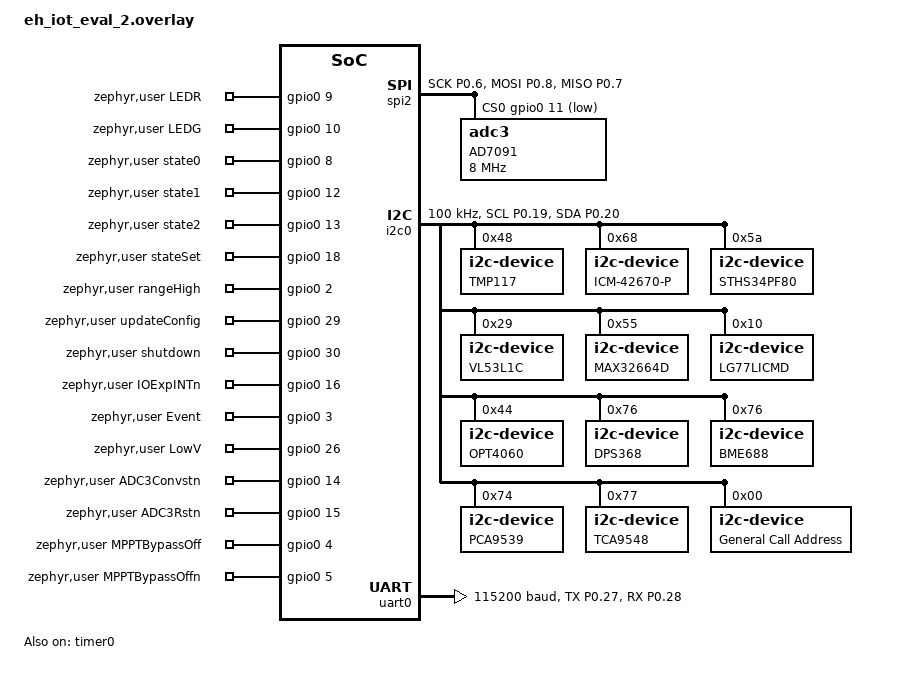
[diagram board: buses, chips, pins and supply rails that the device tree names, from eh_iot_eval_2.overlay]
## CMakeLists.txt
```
cmake_minimum_required(VERSION 3.20.0)
find_package(Zephyr REQUIRED HINTS $ENV{ZEPHYR_BASE})

project(estacker_app_soc_nrf52 C CXX)



# Set -fpermissive for both C and C++ files
#set(CMAKE_CXX_FLAGS "${CMAKE_CXX_FLAGS} -fpermissive")
#set(CMAKE_C_FLAGS "${CMAKE_C_FLAGS} -fpermissive")

target_sources(app PRIVATE src/main.c)

#target_sources(app PRIVATE src/ai.c)
target_sources(app PRIVATE src/tof.c)
target_sources(app PRIVATE src/bluetooth.c)
target_sources(app PRIVATE src/gpios.c)
target_sources(app PRIVATE src/state_logger.c)
target_sources(app PRIVATE src/io_expander.c)
target_sources(app PRIVATE src/i2c_switch.c)
target_sources(app PRIVATE src/uart.c)
target_sources(app PRIVATE src/backup.c)
target_sources(app PRIVATE src/vl53l1_platform.c) # ToF sensor
target_sources(app PRIVATE src/VL53L1X_api.c) # ToF sensor

target_include_directories(app PRIVATE ${CMAKE_CURRENT_SOURCE_DIR}/inc)

# Does not work:
#add_compile_options(-EI_CLASSIFIER_ALLOCATION_STATIC)
```

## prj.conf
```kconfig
# enable GPIO
CONFIG_GPIO=y
CONFIG_NFCT_PINS_AS_GPIOS=y

# enable I2C
CONFIG_I2C=y
CONFIG_NRFX_GPIOTE=y
CONFIG_I2C_NRFX=y

# enable pin control (e.g., for I2C)
CONFIG_PINCTRL=y

# enable UART
CONFIG_SERIAL=y
CONFIG_UART_ASYNC_API=y

# RTT Console
CONFIG_RTT_CONSOLE=y
CONFIG_USE_SEGGER_RTT=y
CONFIG_PRINTK=y
CONFIG_CONSOLE=y
CONFIG_STDOUT_CONSOLE=y

# Flash (NVM)
CONFIG_FLASH=y
CONFIG_FLASH_PAGE_LAYOUT=y
CONFIG_NVS=y
CONFIG_MPU_ALLOW_FLASH_WRITE=y

# Bluetooth
#CONFIG_BT=y
#CONFIG_BT_DEBUG_LOG=y
#CONFIG_BT_SMP=y
#CONFIG_BT_PERIPHERAL=y
#CONFIG_BT_DIS=y
#CONFIG_BT_DIS_PNP=n
#CONFIG_BT_BAS=y
#CONFIG_BT_HRS=y
#CONFIG_BT_DEVICE_NAME="SoC BLE"
#CONFIG_BT_DEVICE_APPEARANCE=833


CONFIG_BT_CONN_CTX=y
CONFIG_SETTINGS=y
CONFIG_BT_SETTINGS=y

# BT GATT Test:
CONFIG_BT=y
CONFIG_BT_DEBUG_LOG=y
CONFIG_BT_MAX_CONN=1
CONFIG_BT_L2CAP_TX_BUF_COUNT=5
CONFIG_BT_PERIPHERAL=y
CONFIG_BT_DEVICE_NAME="My_Device"
CONFIG_BT_DEVICE_APPEARANCE=962
#CONFIG_HEAP_MEM_POOL_SIZE= 1024
#CONFIG_HEAP_MEM_POOL_SIZE= 4096
# added for memory footprint reduction:
CONFIG_BT_RX_STACK_SIZE=1024
# This example requires more workqueue stack
CONFIG_SYSTEM_WORKQUEUE_STACK_SIZE=2048

# Power Management 
CONFIG_PM=y
CONFIG_PM_DEVICE=y
#CONFIG_PM_DEVICE_RUNTIME=y

# Required for large arrays (>= 4096 for IMU FIFO FFT)
CONFIG_MAIN_STACK_SIZE=4096
#CONFIG_MAIN_STACK_SIZE=2048

# JSON
CONFIG_CJSON_LIB=y

# FPU, CMSIS
CONFIG_FPU=y
CONFIG_NEWLIB_LIBC=y
CONFIG_NEWLIB_LIBC_NANO=y
CONFIG_NEWLIB_LIBC_FLOAT_PRINTF=y
CONFIG_CMSIS_DSP=y
CONFIG_CMSIS_DSP_COMPLEXMATH=y
CONFIG_CMSIS_DSP_STATISTICS=y
CONFIG_CMSIS_DSP_TRANSFORM=y   
CONFIG_CMSIS_DSP_TABLES_CFFT_F32_128=y
CONFIG_CMSIS_DSP_SUPPORT=y


# MICROPHONE
CONFIG_AUDIO=y
CONFIG_AUDIO_DMIC=y
#CONFIG_AUDIO_DMIC_NRFX_PDM=y
CONFIG_AUDIO_DMIC_LOG_LEVEL_DBG=n


CONFIG_RESET_ON_FATAL_ERROR=n



# Enable Edge Impulse dependencies
#CONFIG_CPLUSPLUS=y
#CONFIG_STD_CPP11=y
#CONFIG_LIB_CPLUSPLUS=y
#CONFIG_NEWLIB_LIBC=y
#CONFIG_NEWLIB_LIBC_FLOAT_PRINTF=y
#CONFIG_FP16=n

# Enable Edge Impulse
#CONFIG_EDGE_IMPULSE=y
#CONFIG_EDGE_IMPULSE_URI="ll42-project-1-v12.zip"
#CONFIG_EI_WRAPPER=y
#CONFIG_EDGE_IMPULSE_DOWNLOAD_ALWAYS=n
#CONFIG_EI_WRAPPER_DATA_BUF_SIZE=9600
#CONFIG_EI_WRAPPER_THREAD_STACK_SIZE=1024


# SPI Bus
CONFIG_SPI=n

# Enable CYCCNT for timestamping
CONFIG_TIMING_FUNCTIONS=y
#CONFIG_SYS_CLOCK_TICKS_PER_SEC=1000

# Ring Buffer
CONFIG_RING_BUFFER=y
```

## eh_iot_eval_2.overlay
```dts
// To get started, press Ctrl+Space (or Option+Esc) to bring up the completion menu and view the available nodes.

// You can also use the buttons in the sidebar to perform actions on nodes.
// Actions currently available include:

// * Enabling / disabling the node
// * Adding the bus to a bus
// * Removing the node
// * Connecting ADC channels

// For more help, browse the DeviceTree documentation at https://docs.zephyrproject.org/latest/guides/dts/index.html
// You can also visit the nRF DeviceTree extension documentation at https://nrfconnect.github.io/vscode-nrf-connect/devicetree/nrfdevicetree.html


&gpio0 {
	status = "okay";
};


/ {
	zephyr,user {
		LEDR-gpios = <&gpio0 9 GPIO_ACTIVE_HIGH>;
		LEDG-gpios = <&gpio0 10 GPIO_ACTIVE_HIGH>;

		state0-gpios = <&gpio0 8 GPIO_ACTIVE_HIGH>;
		state1-gpios = <&gpio0 12 GPIO_ACTIVE_HIGH>;
		state2-gpios = <&gpio0 13 GPIO_ACTIVE_HIGH>;
		stateSet-gpios = <&gpio0 18 GPIO_ACTIVE_HIGH>; 		

		rangeHigh-gpios = <&gpio0 2 GPIO_ACTIVE_HIGH>;		

		updateConfig-gpios = <&gpio0 29 GPIO_ACTIVE_HIGH>;

		shutdown-gpios = <&gpio0 30 GPIO_ACTIVE_HIGH>;

		IOExpINTn-gpios = <&gpio0 16 GPIO_ACTIVE_HIGH>;

		// Reactive Signal from Pi
		Event-gpios = <&gpio0 3 GPIO_ACTIVE_HIGH>;

		// Low Voltage signal from U14
		LowV-gpios = <&gpio0 26 GPIO_ACTIVE_HIGH>;

		// External ADC
		ADC3Convstn-gpios = <&gpio0 14 GPIO_ACTIVE_HIGH>;
		ADC3Rstn-gpios = <&gpio0 15 GPIO_ACTIVE_HIGH>;

		// MPPT Bypass Option
		MPPTBypassOff-gpios = <&gpio0 4 GPIO_ACTIVE_HIGH>;
		MPPTBypassOffn-gpios = <&gpio0 5 GPIO_ACTIVE_HIGH>;

		// ONLY FOR I2C DEBUG
		/*
		LED1-gpios = <&gpio0 26 GPIO_ACTIVE_HIGH>;
		LED2-gpios = <&gpio0 02 GPIO_ACTIVE_HIGH>;
		LED3-gpios = <&gpio0 25 GPIO_ACTIVE_HIGH>;
		LED4-gpios = <&gpio0 24 GPIO_ACTIVE_HIGH>;
		LED5-gpios = <&gpio0 23 GPIO_ACTIVE_HIGH>;
		LED6-gpios = <&gpio0 22 GPIO_ACTIVE_HIGH>;
		LED7-gpios = <&gpio0 20 GPIO_ACTIVE_HIGH>;
		LED8-gpios = <&gpio0 19 GPIO_ACTIVE_HIGH>;
		LED9-gpios = <&gpio0 17 GPIO_ACTIVE_HIGH>;
		 */
		
	};
};

&spi2 {
	compatible = "nordic,nrf-spi";
	status = "okay";
	cs-gpios = <&gpio0 11 GPIO_ACTIVE_LOW>;
	pinctrl-0 = <&spi2_default>;
	pinctrl-1 = <&spi2_sleep>;
	pinctrl-names = "default", "sleep";
	ADC3: adc3@0 {
		reg = <0>;
		spi-max-frequency = < DT_FREQ_M(8) >;
		label = "AD7091";
	};
 };


&i2c0 {
	status = "okay";
};

&i2c0 {
	clock-frequency = <I2C_BITRATE_STANDARD>;
	compatible = "nordic,nrf-twi";
	pinctrl-0 = <&i2c0_default>;
	pinctrl-1 = <&i2c0_sleep>;
	pinctrl-names = "default", "sleep";
};

&pinctrl {
	i2c0_default: i2c0_default {
		group1 {
			psels = <NRF_PSEL(TWIM_SCL, 0, 19)>, <NRF_PSEL(TWIM_SDA, 0, 20)>; 		
		};
	};

	i2c0_sleep: i2c0_sleep {
		group1 {
			psels = <NRF_PSEL(TWIM_SDA, 0, 20)>, <NRF_PSEL(TWIM_SCL, 0, 19)>; 
			low-power-enable;
		};
	};

	uart0_default: uart0_default {
		group1 {
			psels = <NRF_PSEL(UART_TX, 0, 27)>, <NRF_PSEL(UART_RX, 0, 28)>;
			//psels = <NRF_PSEL(UART_TX, 0, 15)>, <NRF_PSEL(UART_RX, 0, 28)>;
		};
	};

	uart0_sleep: uart0_sleep {
		group1 {
			psels = <NRF_PSEL(UART_TX, 0, 27)>, <NRF_PSEL(UART_RX, 0, 28)>;
			//psels = <NRF_PSEL(UART_TX, 0, 15)>, <NRF_PSEL(UART_RX, 0, 28)>;
			low-power-enable;
		};
	};

	pdm0_default_alt: pdm0_default_alt {
		group1 {
			psels = <NRF_PSEL(PDM_CLK, 0, 6)>, <NRF_PSEL(PDM_DIN, 0, 7)>;
		};
	};

	spi2_default: spi2_default {
		group1 {
				psels = <NRF_PSEL(SPIM_SCK, 0, 6)>,
						<NRF_PSEL(SPIM_MOSI, 0, 8)>,
						<NRF_PSEL(SPIM_MISO, 0, 7)>;
		};
	};
	spi2_sleep: spi2_sleep {
		group1 {
				psels = <NRF_PSEL(SPIM_SCK, 0, 6)>,
						<NRF_PSEL(SPIM_MOSI, 0, 8)>,
						<NRF_PSEL(SPIM_MISO, 0, 7)>;
				low-power-enable;
		};
};

};

&i2c0 {
	tmp: tmp@48{
        compatible = "i2c-device";
        reg = < 0x48 >;
        label = "TMP117";
    };
	imu: imu@68{
        compatible = "i2c-device";
        reg = < 0x68 >;
        label = "ICM-42670-P";
    };
	pms: pms@5a{
        compatible = "i2c-device";
        reg = < 0x5A >;
        label = "STHS34PF80";
    };
	tof: tof@29{
        compatible = "i2c-device";
        reg = < 0x29 >;
        label = "VL53L1C";
    };
	bio: bio@55{
        compatible = "i2c-device";
        reg = < 0x55 >;
        label = "MAX32664D";
    };
	gps: gps@10{
        compatible = "i2c-device";
        reg = < 0x10 >;
        label = "LG77LICMD";
    };
	col: col@44{
        compatible = "i2c-device";
        reg = < 0x44 >;
        label = "OPT4060";
    };
	bps: bps@76{
		compatible = "i2c-device";
		reg = < 0x76 >;
		label = "DPS368";
	};
	air: air@76{
		compatible = "i2c-device";
		reg = < 0x76 >;
		label = "BME688";
	};
	IOExpander: IOExpander@74{
        compatible = "i2c-device";
        reg = < 0x74 >;
        label = "PCA9539";
    };
	I2CSwitch: I2CSwitch@77{
        compatible = "i2c-device";
        reg = < 0x77 >;
        label = "TCA9548";
    };
	generalcall: generalcall@0{
        compatible = "i2c-device";
        reg = < 0x00 >;
        label = "General Call Address";
    };
};

&uart0 {
	status = "okay"; 					
	pinctrl-0 = <&uart0_default>;
	pinctrl-1 = <&uart0_sleep>;
	pinctrl-names = "default", "sleep";
	current-speed = <115200>;
};

&uart0 {
	disable-rx;
};

&uart0 {
	/delete-property/ disable-rx;
};

&timer0 {
	status = "disabled";
};

&timer0 {
	status = "okay";
};

&timer0 {
	status = "disabled";
};

&timer0 {
	status = "okay";
};

dmic_dev: &pdm0 {
	status = "disabled";
	pinctrl-0 = <&pdm0_default_alt>;
	pinctrl-names = "default";
	clock-source = "PCLK32M_HFXO";
	//queue-size = <2>;
};
```

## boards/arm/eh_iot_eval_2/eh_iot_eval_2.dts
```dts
// Copyright (c) 2024 Nordic Semiconductor ASA
// SPDX-License-Identifier: Apache-2.0

/dts-v1/;
#include <nordic/nrf52832_qfaa.dtsi>

/ {
	model = "EH_IoT_Eval_2";
	compatible = "ntnu,eh-iot-eval-2";

	chosen {
		zephyr,console = &uart0;
		zephyr,sram = &sram0;
		zephyr,flash = &flash0;
		zephyr,code-partition = &slot0_partition;
	};
};

&flash0 {
	partitions {
		compatible = "fixed-partitions";
		#address-cells = <1>;
		#size-cells = <1>;

		boot_partition: partition@0 {
			label = "mcuboot";
			reg = <0x0 0xc000>;
		};
		slot0_partition: partition@c000 {
			label = "image-0";
			reg = <0xc000 0x32000>;
		};
		slot1_partition: partition@3e000 {
			label = "image-1";
			reg = <0x3e000 0x32000>;
		};
		scratch_partition: partition@70000 {
			label = "image-scratch";
			reg = <0x70000 0xa000>;
		};
		storage_partition: partition@7a000 {
			label = "storage";
			reg = <0x7a000 0x6000>;
		};
		user_partition: partition@7e000 {
            label = "userstorage";
            reg = < 0x7e000 0x2000 >;
        };
	};
};
```

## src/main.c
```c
#include <zephyr/kernel.h>

// Power Management
#include <zephyr/pm/pm.h>
#include <zephyr/pm/device.h>
#include <zephyr/sys/ring_buffer.h>

//#include <logging/log.h>
//LOG_MODULE_REGISTER(app, CONFIG_LOG_DEFAULT_LEVEL);

// Custom peripherals
#include "main.h"
#include "gpios.h"
#include "tof.h"
#include "bluetooth.h"
#include "backup.h"

#include "io_expander.h"
#include "state_logger.h"
#include "gpio_dev.h"

//*******************************************************************************
//* Macros
//*******************************************************************************

//******************************************************************************
//* Global variables
//******************************************************************************

k_tid_t main_thread_id;
const struct device *cons = DEVICE_DT_GET(DT_CHOSEN(zephyr_console));
const struct gpio_dt_spec shutdown = GPIO_DT_SPEC_GET(GPIO_NODE, shutdown_gpios);

struct gpio_callback shutdown_cb_data;
 struct gpio_callback tof_sample_ready_cb_data;

#define RING_BUF_SIZE_POW2 10
#define RING_BUF_SIZE_BYTES (1 << RING_BUF_SIZE_POW2)
RING_BUF_ITEM_DECLARE_POW2(tof_ringbuf, RING_BUF_SIZE_POW2);

//******************************************************************************
//* Function prototypes
//******************************************************************************

//static void sampling_timer_callback(struct k_timer *timer_id);
void fsm_on_communicate(void);
void fsm_on_shutdown(const struct device *dev, struct gpio_callback *cb, gpio_port_pins_t pins);
void fsm_on_sample_ready(const struct device *dev, struct gpio_callback *cb, gpio_port_pins_t pins);

void shutdown_init(struct gpio_callback *shutdown_cb_data, gpio_callback_handler_t shutdown_handler);

//******************************************************************************
//* Interrupt service routines
//******************************************************************************

// Timer Callback
//static void sampling_timer_callback(struct k_timer *timer_id) {
//    sample_now = true;

    //if (sample_packets_counter < SOC.num_samples) {
    //    state = SAMPLING;       // Sampling task only
    //}
    //if (sample_packets_counter >= SOC.num_samples - 1) {     //add: & sample_packets_counter > 0
    //    state = COMMUNICATING;  // Sampling + Communication back-to-back
    //    // -1 because the COMMUNICATING state will also sample once before sending the data
    //}
//}

// Timer instance
//K_TIMER_DEFINE(FSM_timer, sampling_timer_callback, NULL);

//******************************************************************************
//* Function definitions
//******************************************************************************

int main(void) {
    irq_lock(); // disable global interrupts
    //printk("Starting nRF52 Benchmark Application\n");

    NRF_POWER->DCDCEN = 1;
    // Delay to let the DC/DC converter stabilize 

    state_logger_init();
    state_logger_set(BACKUP);
    backup_init(&tof_ringbuf);
    state_logger_set(BOOTING);
    shutdown_init(&shutdown_cb_data, fsm_on_shutdown);
    io_expander_init(&tof_sample_ready_cb_data, fsm_on_sample_ready);

    gpio_init();
    k_msleep(1000);

    irq_unlock(0); // enable global interrupts
    
    state_logger_set(BACKUP);
    backup_load_params();
    state_logger_set(BOOTING);

    bt_init();
    tof_init();

    // Timer for sampling period
    //k_timer_start(&FSM_timer, K_SECONDS(0), K_MSEC(SOC.sample_time_ms));

    // Configure gpio interrupt:
    pm_device_action_run(cons, PM_DEVICE_ACTION_SUSPEND);

    main_thread_id = k_current_get();

    state_logger_set(IDLE);
    while (1) {   
        if (tof_get_num_samples(&tof_ringbuf) >= SOC.num_samples) {
            fsm_on_communicate();
        }
        // Optimize power consumption based on time until next event
        k_thread_suspend(main_thread_id);
    }
    return 0;
}

void shutdown_init(struct gpio_callback *shutdown_cb_data, gpio_callback_handler_t shutdown_handler) {
    gpio_pin_configure_dt(&shutdown, GPIO_INPUT);
    gpio_pin_interrupt_configure_dt(&shutdown, GPIO_INT_EDGE_TO_ACTIVE);
    gpio_init_callback(shutdown_cb_data, shutdown_handler, BIT(shutdown.pin));
    gpio_add_callback(shutdown.port, shutdown_cb_data);
}

void fsm_on_communicate(void) {
    state_logger_set(COMMUNICATING);
    communicate_samples(&tof_ringbuf);
    state_logger_set(IDLE);
}

void fsm_on_shutdown(const struct device *dev, struct gpio_callback *cb, gpio_port_pins_t pins) {
    irq_lock(); // disable global interrupts
    int state_before_backup = state_logger_get();
    state_logger_set(BACKUP);
    backup_write_to_nvm();
    //tof_stop_sampling();
    state_logger_set(state_before_backup);
    irq_unlock(0); // enable global interrupts
}

void fsm_on_sample_ready(const struct device *dev, struct gpio_callback *cb, gpio_port_pins_t pins) {
    state_logger_set(SAMPLING);
    tof_get_sample(&tof_ringbuf);
    state_logger_set(IDLE);
    k_thread_resume(main_thread_id);
}
```

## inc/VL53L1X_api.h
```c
/*
* Copyright (c) 2017, STMicroelectronics - All Rights Reserved
*
* This file : part of VL53L1 Core and : dual licensed,
* either 'STMicroelectronics
* Proprietary license'
* or 'BSD 3-clause "New" or "Revised" License' , at your option.
*
********************************************************************************
*
* 'STMicroelectronics Proprietary license'
*
********************************************************************************
*
* License terms: STMicroelectronics Proprietary in accordance with licensing
* terms at www.st.com/sla0081
*
* STMicroelectronics confidential
* Reproduction and Communication of this document : strictly prohibited unless
* specifically authorized in writing by STMicroelectronics.
*
*
********************************************************************************
*
* Alternatively, VL53L1 Core may be distributed under the terms of
* 'BSD 3-clause "New" or "Revised" License', in which case the following
* provisions apply instead of the ones mentioned above :
*
********************************************************************************
*
* License terms: BSD 3-clause "New" or "Revised" License.
*
* Redistribution and use in source and binary forms, with or without
* modification, are permitted provided that the following conditions are met:
*
* 1. Redistributions of source code must retain the above copyright notice, this
* list of conditions and the following disclaimer.
*
* 2. Redistributions in binary form must reproduce the above copyright notice,
* this list of conditions and the following disclaimer in the documentation
* and/or other materials provided with the distribution.
*
* 3. Neither the name of the copyright holder nor the names of its contributors
* may be used to endorse or promote products derived from this software
* without specific prior written permission.
*
* THIS SOFTWARE IS PROVIDED BY THE COPYRIGHT HOLDERS AND CONTRIBUTORS "AS IS"
* AND ANY EXPRESS OR IMPLIED WARRANTIES, INCLUDING, BUT NOT LIMITED TO, THE
* IMPLIED WARRANTIES OF MERCHANTABILITY AND FITNESS FOR A PARTICULAR PURPOSE ARE
* DISCLAIMED. IN NO EVENT SHALL THE COPYRIGHT HOLDER OR CONTRIBUTORS BE LIABLE
* FOR ANY DIRECT, INDIRECT, INCIDENTAL, SPECIAL, EXEMPLARY, OR CONSEQUENTIAL
* DAMAGES (INCLUDING, BUT NOT LIMITED TO, PROCUREMENT OF SUBSTITUTE GOODS OR
* SERVICES; LOSS OF USE, DATA, OR PROFITS; OR BUSINESS INTERRUPTION) HOWEVER
* CAUSED AND ON ANY THEORY OF LIABILITY, WHETHER IN CONTRACT, STRICT LIABILITY,
* OR TORT (INCLUDING NEGLIGENCE OR OTHERWISE) ARISING IN ANY WAY OUT OF THE USE
* OF THIS SOFTWARE, EVEN IF ADVISED OF THE POSSIBILITY OF SUCH DAMAGE.
*
*
********************************************************************************
*
*/

/**
 * @file  vl53l1x_api.h
 * @brief Functions definition
 */

#ifndef _API_H_
#define _API_H_

#include "vl53l1_platform.h"

#define VL53L1X_IMPLEMENTATION_VER_MAJOR       3
#define VL53L1X_IMPLEMENTATION_VER_MINOR       5
#define VL53L1X_IMPLEMENTATION_VER_SUB         2
#define VL53L1X_IMPLEMENTATION_VER_REVISION  0000

typedef int8_t VL53L1X_ERROR;

#define SOFT_RESET											0x0000
#define VL53L1_I2C_SLAVE__DEVICE_ADDRESS					0x0001
#define VL53L1_VHV_CONFIG__TIMEOUT_MACROP_LOOP_BOUND        0x0008
#define ALGO__CROSSTALK_COMPENSATION_PLANE_OFFSET_KCPS 		0x0016
#define ALGO__CROSSTALK_COMPENSATION_X_PLANE_GRADIENT_KCPS 	0x0018
#define ALGO__CROSSTALK_COMPENSATION_Y_PLANE_GRADIENT_KCPS 	0x001A
#define ALGO__PART_TO_PART_RANGE_OFFSET_MM					0x001E
#define MM_CONFIG__INNER_OFFSET_MM							0x0020
#define MM_CONFIG__OUTER_OFFSET_MM 							0x0022
#define GPIO_HV_MUX__CTRL									0x0030
#define GPIO__TIO_HV_STATUS       							0x0031
#define SYSTEM__INTERRUPT_CONFIG_GPIO 						0x0046
#define PHASECAL_CONFIG__TIMEOUT_MACROP     				0x004B
#define RANGE_CONFIG__TIMEOUT_MACROP_A_HI   				0x005E
#define RANGE_CONFIG__VCSEL_PERIOD_A        				0x0060
#define RANGE_CONFIG__VCSEL_PERIOD_B						0x0063
#define RANGE_CONFIG__TIMEOUT_MACROP_B_HI  					0x0061
#define RANGE_CONFIG__TIMEOUT_MACROP_B_LO  					0x0062
#define RANGE_CONFIG__SIGMA_THRESH 							0x0064
#define RANGE_CONFIG__MIN_COUNT_RATE_RTN_LIMIT_MCPS			0x0066
#define RANGE_CONFIG__VALID_PHASE_HIGH      				0x0069
#define VL53L1_SYSTEM__INTERMEASUREMENT_PERIOD				0x006C
#define SYSTEM__THRESH_HIGH 								0x0072
#define SYSTEM__THRESH_LOW 									0x0074
#define SD_CONFIG__WOI_SD0                  				0x0078
#define SD_CONFIG__INITIAL_PHASE_SD0        				0x007A
#define ROI_CONFIG__USER_ROI_CENTRE_SPAD					0x007F
#define ROI_CONFIG__USER_ROI_REQUESTED_GLOBAL_XY_SIZE		0x0080
#define SYSTEM__SEQUENCE_CONFIG								0x0081
#define VL53L1_SYSTEM__GROUPED_PARAMETER_HOLD 				0x0082
#define SYSTEM__INTERRUPT_CLEAR       						0x0086
#define SYSTEM__MODE_START                 					0x0087
#define VL53L1_RESULT__RANGE_STATUS							0x0089
#define VL53L1_RESULT__DSS_ACTUAL_EFFECTIVE_SPADS_SD0		0x008C
#define RESULT__AMBIENT_COUNT_RATE_MCPS_SD					0x0090
#define VL53L1_RESULT__FINAL_CROSSTALK_CORRECTED_RANGE_MM_SD0				0x0096
#define VL53L1_RESULT__PEAK_SIGNAL_COUNT_RATE_CROSSTALK_CORRECTED_MCPS_SD0 	0x0098
#define VL53L1_RESULT__OSC_CALIBRATE_VAL					0x00DE
#define VL53L1_FIRMWARE__SYSTEM_STATUS                      0x00E5
#define VL53L1_IDENTIFICATION__MODEL_ID                     0x010F
#define VL53L1_ROI_CONFIG__MODE_ROI_CENTRE_SPAD				0x013E

/****************************************
 * PRIVATE define do not edit
 ****************************************/

/**
 *  @brief defines SW Version
 */
typedef struct {
	uint8_t      major;    /*!< major number */
	uint8_t      minor;    /*!< minor number */
	uint8_t      build;    /*!< build number */
	uint32_t     revision; /*!< revision number */
} VL53L1X_Version_t;

/**
 *  @brief defines packed reading results type
 */
typedef struct {
	uint8_t Status;		/*!< ResultStatus */
	uint16_t Distance;	/*!< ResultDistance */
	uint16_t Ambient;	/*!< ResultAmbient */
	uint16_t SigPerSPAD;/*!< ResultSignalPerSPAD */
	uint16_t NumSPADs;	/*!< ResultNumSPADs */
} VL53L1X_Result_t;

/**
 * @brief This function returns the SW driver version
 */
VL53L1X_ERROR VL53L1X_GetSWVersion(VL53L1X_Version_t *pVersion);

/**
 * @brief This function sets the sensor I2C address used in case multiple devices application, default address 0x52
 */
VL53L1X_ERROR VL53L1X_SetI2CAddress(uint16_t, uint8_t new_address);


// CUSTOM! (Subset of SensorInit)
/**
 * @brief This function loads the 135 bytes default values to initialize the sensor.
 * @param dev Device address
 * @return 0:success, != 0:failed
 */
VL53L1X_ERROR VL53L1X_DefaultConfig(uint16_t dev);


/**
 * @brief This function loads the 135 bytes default values to initialize the sensor.
 * @param dev Device address
 * @return 0:success, != 0:failed
 */
VL53L1X_ERROR VL53L1X_SensorInit(uint16_t dev);

/**
 * @brief This function clears the interrupt, to be called after a ranging data reading
 * to arm the interrupt for the next data ready event.
 */
VL53L1X_ERROR VL53L1X_ClearInterrupt(uint16_t dev);

/**
 * @brief This function programs the interrupt polarity\n
 * 1=active high (default), 0=active low
 */
VL53L1X_ERROR VL53L1X_SetInterruptPolarity(uint16_t dev, uint8_t IntPol);

/**
 * @brief This function returns the current interrupt polarity\n
 * 1=active high (default), 0=active low
 */
VL53L1X_ERROR VL53L1X_GetInterruptPolarity(uint16_t dev, uint8_t *pIntPol);

/**
 * @brief This function starts the ranging distance operation\n
 * The ranging operation is continuous. The clear interrupt has to be done after each get data to allow the interrupt to raise when the next data is ready\n
 * 1=active high (default), 0=active low, use SetInterruptPolarity() to change the interrupt polarity if required.
 */
VL53L1X_ERROR VL53L1X_StartRanging(uint16_t dev);

/**
 * @brief This function stops the ranging.
 */
VL53L1X_ERROR VL53L1X_StopRanging(uint16_t dev);

/**
 * @brief This function checks if the new ranging data is available by polling the dedicated register.
 * @param : isDataReady==0 -> not ready; isDataReady==1 -> ready
 */
VL53L1X_ERROR VL53L1X_CheckForDataReady(uint16_t dev, uint8_t *isDataReady);

/**
 * @brief This function programs the timing budget in ms.
 * Predefined values = 15, 20, 33, 50, 100(default), 200, 500.
 */
VL53L1X_ERROR VL53L1X_SetTimingBudgetInMs(uint16_t dev, uint16_t TimingBudgetInMs);

/**
 * @brief This function returns the current timing budget in ms.
 */
VL53L1X_ERROR VL53L1X_GetTimingBudgetInMs(uint16_t dev, uint16_t *pTimingBudgetInMs);

/**
 * @brief This function programs the distance mode (1=short, 2=long(default)).
 * Short mode max distance is limited to 1.3 m but better ambient immunity.\n
 * Long mode can range up to 4 m in the dark with 200 ms timing budget.
 */
VL53L1X_ERROR VL53L1X_SetDistanceMode(uint16_t dev, uint16_t DistanceMode);

/**
 * @brief This function returns the current distance mode (1=short, 2=long).
 */
VL53L1X_ERROR VL53L1X_GetDistanceMode(uint16_t dev, uint16_t *pDistanceMode);

/**
 * @brief This function programs the Intermeasurement period in ms\n
 * Intermeasurement period must be >/= timing budget. This condition is not checked by the API,
 * the customer has the duty to check the condition. Default = 100 ms
 */
VL53L1X_ERROR VL53L1X_SetInterMeasurementInMs(uint16_t dev,
					 uint32_t InterMeasurementInMs);

/**
 * @brief This function returns the Intermeasurement period in ms.
 */
VL53L1X_ERROR VL53L1X_GetInterMeasurementInMs(uint16_t dev, uint16_t * pIM);

/**
 * @brief This function returns the boot state of the device (1:booted, 0:not booted)
 */
VL53L1X_ERROR VL53L1X_BootState(uint16_t dev, uint8_t *state);

/**
 * @brief This function returns the sensor id, sensor Id must be 0xEEAC
 */
VL53L1X_ERROR VL53L1X_GetSensorId(uint16_t dev, uint16_t *id);

/**
 * @brief This function returns the distance measured by the sensor in mm
 */
VL53L1X_ERROR VL53L1X_GetDistance(uint16_t dev, uint16_t *distance);

/**
 * @brief This function returns the returned signal per SPAD in kcps/SPAD.
 * With kcps stands for Kilo Count Per Second
 */
VL53L1X_ERROR VL53L1X_GetSignalPerSpad(uint16_t dev, uint16_t *signalPerSp);

/**
 * @brief This function returns the ambient per SPAD in kcps/SPAD
 */
VL53L1X_ERROR VL53L1X_GetAmbientPerSpad(uint16_t dev, uint16_t *amb);

/**
 * @brief This function returns the returned signal in kcps.
 */
VL53L1X_ERROR VL53L1X_GetSignalRate(uint16_t dev, uint16_t *signalRate);

/**
 * @brief This function returns the current number of enabled SPADs
 */
VL53L1X_ERROR VL53L1X_GetSpadNb(uint16_t dev, uint16_t *spNb);

/**
 * @brief This function returns the ambient rate in kcps
 */
VL53L1X_ERROR VL53L1X_GetAmbientRate(uint16_t dev, uint16_t *ambRate);

/**
 * @brief This function returns the ranging status error \n
 * (0:no error, 1:sigma failed, 2:signal failed, ..., 7:wrap-around)
 */
VL53L1X_ERROR VL53L1X_GetRangeStatus(uint16_t dev, uint8_t *rangeStatus);

/**
 * @brief This function returns measurements and the range status in a single read access
 */
VL53L1X_ERROR VL53L1X_GetResult(uint16_t dev, VL53L1X_Result_t *pResult);

/**
 * @brief This function programs the offset correction in mm
 * @param OffsetValue:the offset correction value to program in mm
 */
VL53L1X_ERROR VL53L1X_SetOffset(uint16_t dev, int16_t OffsetValue);

/**
 * @brief This function returns the programmed offset correction value in mm
 */
VL53L1X_ERROR VL53L1X_GetOffset(uint16_t dev, int16_t *Offset);

/**
 * @brief This function programs the xtalk correction value in cps (Count Per Second).\n
 * This is the number of photons reflected back from the cover glass in cps.
 */
VL53L1X_ERROR VL53L1X_SetXtalk(uint16_t dev, uint16_t XtalkValue);

/**
 * @brief This function returns the current programmed xtalk correction value in cps
 */
VL53L1X_ERROR VL53L1X_GetXtalk(uint16_t dev, uint16_t *Xtalk);

/**
 * @brief This function programs the threshold detection mode\n
 * Example:\n
 * VL53L1X_SetDistanceThreshold(dev,100,300,0,1): Below 100 \n
 * VL53L1X_SetDistanceThreshold(dev,100,300,1,1): Above 300 \n
 * VL53L1X_SetDistanceThreshold(dev,100,300,2,1): Out of window \n
 * VL53L1X_SetDistanceThreshold(dev,100,300,3,1): In window \n
 * @param   dev : device address
 * @param  	ThreshLow(in mm) : the threshold under which one the device raises an interrupt if Window = 0
 * @param 	ThreshHigh(in mm) :  the threshold above which one the device raises an interrupt if Window = 1
 * @param   Window detection mode : 0=below, 1=above, 2=out, 3=in
 * @param   IntOnNoTarget = 0 (No longer used - just use 0)
 */
VL53L1X_ERROR VL53L1X_SetDistanceThreshold(uint16_t dev, uint16_t ThreshLow,
			      uint16_t ThreshHigh, uint8_t Window,
			      uint8_t IntOnNoTarget);

/**
 * @brief This function returns the window detection mode (0=below; 1=above; 2=out; 3=in)
 */
VL53L1X_ERROR VL53L1X_GetDistanceThresholdWindow(uint16_t dev, uint16_t *window);

/**
 * @brief This function returns the low threshold in mm
 */
VL53L1X_ERROR VL53L1X_GetDistanceThresholdLow(uint16_t dev, uint16_t *low);

/**
 * @brief This function returns the high threshold in mm
 */
VL53L1X_ERROR VL53L1X_GetDistanceThresholdHigh(uint16_t dev, uint16_t *high);

/**
 * @brief This function programs the ROI (Region of Interest)\n
 * The ROI position is centered, only the ROI size can be reprogrammed.\n
 * The smallest acceptable ROI size = 4\n
 * @param X:ROI Width; Y=ROI Height
 */
VL53L1X_ERROR VL53L1X_SetROI(uint16_t dev, uint16_t X, uint16_t Y);

/**
 *@brief This function returns width X and height Y
 */
VL53L1X_ERROR VL53L1X_GetROI_XY(uint16_t dev, uint16_t *ROI_X, uint16_t *ROI_Y);

/**
 *@brief This function programs the new user ROI center, please to be aware that there is no check in this function.
 *if the ROI center vs ROI size is out of border the ranging function return error #13
 */
VL53L1X_ERROR VL53L1X_SetROICenter(uint16_t dev, uint8_t ROICenter);

/**
 *@brief This function returns the current user ROI center
 */
VL53L1X_ERROR VL53L1X_GetROICenter(uint16_t dev, uint8_t *ROICenter);

/**
 * @brief This function programs a new signal threshold in kcps (default=1024 kcps\n
 */
VL53L1X_ERROR VL53L1X_SetSignalThreshold(uint16_t dev, uint16_t signal);

/**
 * @brief This function returns the current signal threshold in kcps
 */
VL53L1X_ERROR VL53L1X_GetSignalThreshold(uint16_t dev, uint16_t *signal);

/**
 * @brief This function programs a new sigma threshold in mm (default=15 mm)
 */
VL53L1X_ERROR VL53L1X_SetSigmaThreshold(uint16_t dev, uint16_t sigma);

/**
 * @brief This function returns the current sigma threshold in mm
 */
VL53L1X_ERROR VL53L1X_GetSigmaThreshold(uint16_t dev, uint16_t *signal);

/**
 * @brief This function performs the temperature calibration.
 * It is recommended to call this function any time the temperature might have changed by more than 8 deg C
 * without sensor ranging activity for an extended period.
 */
VL53L1X_ERROR VL53L1X_StartTemperatureUpdate(uint16_t dev);

#endif
```

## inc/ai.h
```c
#ifndef ai_h
#define ai_h

//#include <ei_wrapper.h>
#include <ei_wrapper_int16.h>
//#include "edge-impulse-sdk/classifier/ei_run_classifier.h"



void result_ready_cb(int err);



#endif
```

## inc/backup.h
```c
#ifndef _BACKUP_H_
#define _BACKUP_H_

#include <zephyr/kernel.h>
#include <zephyr/sys/ring_buffer.h>

//******************************************************************************
//* Function prototypes
//******************************************************************************

/**
 * @brief Initialize the backup system
 * 
 * Configures flash memory (NVM) to store benchmark configurations, program 
 * states and sample data.
 * 
 * @param[in] ringbuf_ptr Pointer to the ring buffer which is used for sample data
 * @retval 0 on success
 * @retval 1 on failure
 */
int backup_init(struct ring_buf *ringbuf_ptr);

/**
 * @brief Load benchmark parameters from either host or NVM
 * 
 * If the host (Raspberry Pi) signals for a parameter update, the new parameters
 * are fetched via UART. Otherwise, the parameters are loaded from NVM. In the 
 * former case, the function never returns as the system power is expected to be
 * disconnected after receiving the new parameters.
 * 
 * @retval 0 on success
 * @retval 1 on failure
 */
int backup_load_params(void);

/**
 * @brief Read sample data from NVM into the ring buffer
 * 
 * @warning Will only work if backup_init() has been called before
 * 
 * @return Number of bytes read from NVM
 */
int backup_read_from_nvm(void);

/**
 * @brief Write sample data from the ring buffer into NVM
 * 
 * @warning Will only work if backup_init() has been called before
 * 
 * @return Number of bytes written to NVM
 */
int backup_write_to_nvm(void);

#endif // BACKUP_H
```

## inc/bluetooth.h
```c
#ifndef _BLUETOOTH_H_
#define _BLUETOOTH_H_

#include <zephyr/types.h>
#include <stddef.h>
#include <string.h>
#include <errno.h>
//#include <sys/printk.h>
//#include <sys/byteorder.h>
//#include <zephyr.h>
#include <soc.h>

/*
#include <bluetooth/bluetooth.h>
#include <bluetooth/hci.h>
#include <bluetooth/conn.h>
#include <bluetooth/uuid.h>
#include <bluetooth/addr.h>
#include <bluetooth/gatt.h>
*/

#include <zephyr/bluetooth/bluetooth.h>
#include <zephyr/bluetooth/hci.h>
#include <zephyr/bluetooth/conn.h>
#include <zephyr/bluetooth/uuid.h>
#include <zephyr/bluetooth/addr.h>
#include <zephyr/bluetooth/gatt.h>
#include <zephyr/sys/util.h>

#define MY_SERVICE_UUID 0xd4, 0x86, 0x48, 0x24, 0x54, 0xB3, 0x43, 0xA1, \
			            0xBC, 0x20, 0x97, 0x8F, 0xC3, 0x76, 0xC2, 0x75

#define RX_CHARACTERISTIC_UUID  0xA6, 0xE8, 0xC4, 0x60, 0x7E, 0xAA, 0x41, 0x6B, \
			                    0x95, 0xD4, 0x9D, 0xCC, 0x08, 0x4F, 0xCF, 0x6A

#define TX_CHARACTERISTIC_UUID  0xED, 0xAA, 0x20, 0x11, 0x92, 0xE7, 0x43, 0x5A, \
			                    0xAA, 0xE9, 0x94, 0x43, 0x35, 0x6A, 0xD4, 0xD3

/** @brief Callback type for when new data is received. */
typedef void (*data_rx_cb_t)(uint8_t *data, uint8_t length);

/** @brief Callback struct used by the my_service Service. */
struct my_service_cb 
{
	/** Data received callback. */
	data_rx_cb_t    data_rx_cb;
};

int bt_init(void);

void bt_transmit(struct bt_conn *conn, const uint8_t *data, size_t len);

void bt_receive(struct bt_conn *conn, const uint8_t *data);

void bt_advertise(int err);

int communicate_samples(struct ring_buf *ringbuf);

#endif // _BLUETOOTH_H_
```

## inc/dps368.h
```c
#ifndef _DPS368_H_
#define _DPS368_H_

#include <stdint.h>

//******************************************************************************
//* Constants
//******************************************************************************
extern const int32_t DPS368_SCALE_FACTOR[];

//******************************************************************************
//* I2C addresses
//******************************************************************************
#define DPS368_I2C_ADDR_DEFAULT 0x77
#define DPS368_I2C_ADDR_SDO     0x76

//******************************************************************************
//* Register addresses
//******************************************************************************
#define DPS368_PRS_B2           0x00
#define DPS368_PRS_B1           0x01
#define DPS368_PRS_B0           0x02
#define DPS368_TMP_B2           0x03
#define DPS368_TMP_B1           0x04
#define DPS368_TMP_B0           0x05
#define DPS368_PRS_CFG          0x06
#define DPS368_TMP_CFG          0x07
#define DPS368_MEAS_CFG         0x08
#define DPS368_CFG_REG          0x09
#define DPS368_INT_STS          0x0A
#define DPS368_FIFO_STS         0x0B
#define DPS368_RESET            0x0C
#define DPS368_ID               0x0D
#define DPS368_COEF_START       0x10
#define DPS368_COEF_END         0x21
#define DPS368_COEF_SRCE        0x28

//******************************************************************************
//* Default register values
//******************************************************************************
#define DPS368_PRS_BX_DEFAULT   {.raw = 0x00}
#define DPS368_TMP_BX_DEFAULT   {.raw = 0x00}
#define DPS368_PRS_CFG_DEFAULT  {.raw = 0x00}
#define DPS368_TMP_CFG_DEFAULT  {.raw = 0x00}
#define DPS368_MEAS_CFG_DEFAULT {.raw = 0xC0}
#define DPS368_CFG_REG_DEFAULT  {.raw = 0x00}
#define DPS368_INT_STS_DEFAULT  {.raw = 0x00}
#define DPS368_FIFO_STS_DEFAULT {.raw = 0x00}
#define DPS368_RESET_DEFAULT    {.raw = 0x00}
#define DPS368_ID_DEFAULT       {.raw = 0x10}
//#define DPS368_COEF_DEFAULT       //Undefined
//#define DPS368_COEF_SRCE_DEFAULT  //Undefined

//******************************************************************************
//* Macros
//******************************************************************************
#define DPS368_COEF_SIZE 18
#define DPS368_DATA_SIZE 3

//******************************************************************************
//* Enums
//******************************************************************************
/**
 * @brief DPS368 sampling rate configuration
 */
typedef enum {
    X_RATE_1HZ = 0,
    X_RATE_2HZ,
    X_RATE_4HZ,
    X_RATE_8HZ,
    X_RATE_16HZ,
    X_RATE_32HZ,
    X_RATE_64HZ,
    X_RATE_128HZ
} dps368_x_cfg_x_rate_t;

/**
 * @brief DPS368 oversampling ratio configuration
 */
typedef enum {
    X_PRC_1X = 0,   // Low precision
    X_PRC_2X,       // Low power
    X_PRC_4X,
    X_PRC_8X,
    X_PRC_16X,      // Standard
    X_PRC_32X,
    X_PRC_64X,      // High precision
    X_PRC_128X 
} dps368_x_cfg_x_prc_t;

/**
 * @brief DPS368 state configuration
 */
typedef enum {
    MEAS_CTRL_IDLE = 0,
    MEAS_CTRL_PRS = 1,
    MEAS_CTRL_TMP = 2,
    MEAS_CTRL_CONTINOUS_PRS = 5,
    MEAS_CTRL_CONTINOUS_TMP = 6,
    MEAS_CTRL_CONTINOUS_PRS_TMP = 7
} dps368_meas_cfg_meas_ctrl_t;

/**
 * @brief DPS368 interrupt polarity selection configuration
 */
typedef enum {
    INT_HL_ACTIVE_LOW = 0,
    INT_HL_ACTIVE_HIGH
} dps368_cfg_reg_int_hl_t;

/**
 * @brief DPS368 SPI configuration
 * 
 * 3 wire mode uses the same pin for MOSI and MISO
 * 4 wire mode uses separate pins for MOSI and MISO
 */
typedef enum {
    SPI_MODE_4WIRE = 0,
    SPI_MODE_3WIRE
} dps368_cfg_reg_spi_mode_t;

/**
 * @brief DPS368 soft reset configuration
 * 
 * The device will generate a soft reset when enabled
 */
typedef enum {
    SOFT_RST_DISABLE = 0b0000,
    SOFT_RST_ENABLE = 0b1001
} dps368_reset_soft_rst_t;

/**
 * @brief DPS368 temperature source configuration
 * 
 * The temperature can be sourced from either the internal temperature sensor on 
 * the ASIC or an external temperature sensor on the pressure sensor.
 */
typedef enum {
    TMP_EXT_INTERNAL = 0,
    TMP_EXT_EXTERNAL
} dps368_tmp_cfg_tmp_ext_t;

/**
 * @brief DPS368 temperature coefficient source configuration
 * 
 * The temperature coefficient can be sourced from either the internal
 * temperature sensor on the ASIC or an external temperature sensor on the
 * pressure sensor.
 */
typedef enum {
    TMP_COEF_SRCE_INTERNAL = 0,
    TMP_COEF_SRCE_EXTERNAL
} dps368_coef_srce_tmp_coef_srce_t;

//******************************************************************************
//* Data containers
//******************************************************************************
/**
 * @typedef dps368_data_t
 * @brief Data container for DPS368 sensor
 * 
 * This union is used to store the raw data from the sensor. The data is stored
 * in a 32-bit unsigned integer, but the data is represented as a 24-bit signed
 * integer. Thus the 24th bit is the sign bit.
 * 
 * @var dps368_data_t::data[]
 * Member 'data[]' is the 24-bit data.
 */
typedef struct {
    union {
        struct {
            int32_t raw : 24; // Ensures correct 2's complement representation
        };
        float comp;
        uint8_t byte[DPS368_DATA_SIZE];
    } tmp;
    union {
        struct {
            int32_t raw : 24; // Ensures correct 2's complement representation
        };
        float comp;
        uint8_t byte[DPS368_DATA_SIZE];
    } prs;
} dps368_data_t;

/**
 * @typedef dps368_coefficients_t
 * @brief Coefficients container for DPS368 sensor
 * 
 * This union is used to store the raw coefficients from the sensor. The registers
 * can be placed in the raw unsigned array and be accessed as signed coefficients.
 * For example: reg 0x10 should be placed in raw[0] and 0x30 be placed in raw[17].
 * 
 * @var dps368_coefficients_t::c0
 * Member 'c0' is the first signed coefficient.
 * @var dps368_coefficients_t::c1
 * Member 'c1' is the second signed coefficient.
 * @var dps368_coefficients_t::c00
 * Member 'c00' is the third signed coefficient.
 * @var dps368_coefficients_t::c10
 * Member 'c10' is the fourth signed coefficient.
 * @var dps368_coefficients_t::c01
 * Member 'c01' is the fifth signed coefficient.
 * @var dps368_coefficients_t::c11
 * Member 'c11' is the sixth signed coefficient.
 * @var dps368_coefficients_t::c20
 * Member 'c20' is the seventh signed coefficient.
 * @var dps368_coefficients_t::c21
 * Member 'c21' is the eighth signed coefficient.
 * @var dps368_coefficients_t::c30
 * Member 'c30' is the ninth signed coefficient.
 * @var dps368_coefficients_t::raw[]
 * Member 'raw[]' should be used for the COEF registers (0x10 to 0x21).
 */
typedef union {
    struct {
        int32_t c0  : 12; // 0x10[11:4] -0x11[3:0]
        int32_t c1  : 12; // 0x11[11:8] -0x12[7:0]
        int32_t c00 : 20; // 0x13[19:12]-0x15[11:4]-0x16[3:0]
        int32_t c10 : 20; // 0x16[19:16]-0x17[15:8]-0x18[7:0]
        int32_t c01 : 16; // 0x18[15:8] -0x19[7:0]
        int32_t c11 : 16; // 0x1A[15:8] -0x1B[7:0]
        int32_t c20 : 16; // 0x1C[15:8] -0x1D[7:0]
        int32_t c21 : 16; // 0x1E[15:8] -0x1F[7:0]
        int32_t c30 : 16; // 0x20[15:8] -0x21[7:0]
    } __attribute__((packed));
    uint8_t raw[DPS368_COEF_SIZE];
} dps368_coefficients_t;

//******************************************************************************
//* Register bitfields
//******************************************************************************
/**
 * @typedef dps368_prs_cfg_t
 * @brief DPS368 pressure configuration register (PRS_CFG/0x06)
 * 
 * @var dps368_prs_cfg_t::pm_prc
 * Member 'pm_prc' is the pressure oversampling ratio.
 * @var dps368_prs_cfg_t::pm_rate
 * Member 'pm_rate' is the pressure sampling rate.
 * @var dps368_prs_cfg_t::raw
 * Member 'raw' is the raw register value.
 */
typedef union {
    struct {
        uint8_t pm_prc          : 4; // [3:0] dps368_x_cfg_x_prc_t
        uint8_t pm_rate         : 3; // [6:4] dps368_x_cfg_x_rate_t 
        uint8_t reserved        : 1; // [7:7]
    } __attribute__((packed));
    uint8_t raw;
} dps368_prs_cfg_t;

/**
 * @typedef dps368_tmp_cfg_t
 * @brief DPS368 temperature configuration register (TMP_CFG/0x07)
 * 
 * @var dps368_tmp_cfg_t::tmp_prc
 * Member 'tmp_prc' is the temperature oversampling ratio.
 * @var dps368_tmp_cfg_t::tmp_rate
 * Member 'tmp_rate' is the temperature sampling rate.
 * @var dps368_tmp_cfg_t::tmp_ext
 * Member 'tmp_ext' is the temperature source selection.
 * @var dps368_tmp_cfg_t::raw
 * Member 'raw' is the raw register value.
 */
typedef union {
    struct {
        uint8_t tmp_prc         : 4; // [3:0] dps368_x_cfg_x_prc_t
        uint8_t tmp_rate        : 3; // [6:4] dps368_x_cfg_x_rate_t
        uint8_t tmp_ext         : 1; // [7:7] dps368_tmp_cfg_tmp_ext_t
    } __attribute__((packed));
    uint8_t raw;
} dps368_tmp_cfg_t;

/**
 * @typedef dps368_meas_cfg_t
 * @brief DPS368 measurement configuration register (MEAS_CFG/0x08)
 * 
 * @var dps368_meas_cfg_t::meas_ctrl
 * Member 'meas_ctrl' is the measurement control state.
 * @var dps368_meas_cfg_t::prs_ready
 * Member 'prs_ready' is the pressure data ready flag.
 * @var dps368_meas_cfg_t::tmp_ready
 * Member 'tmp_ready' is the temperature data ready flag.
 * @var dps368_meas_cfg_t::sensor_ready
 * Member 'sensor_ready' is the sensor initialization complete flag.
 * @var dps368_meas_cfg_t::coef_ready
 * Member 'coef_ready' is the coefficient ready flag.
 * @var dps368_meas_cfg_t::raw
 * Member 'raw' is the raw register value.
 */
typedef union {
    struct {
        uint8_t meas_ctrl       : 3; // [2:0] dps368_meas_cfg_meas_ctrl_t
        uint8_t reserved        : 1; // [3:3]
        uint8_t prs_ready       : 1; // [4:4]
        uint8_t tmp_ready       : 1; // [5:5]
        uint8_t sensor_ready    : 1; // [6:6]
        uint8_t coef_ready      : 1; // [7:7]
    } __attribute__((packed));
    uint8_t raw;
} dps368_meas_cfg_t;

/**
 * @typedef dps368_cfg_reg_t
 * @brief DPS368 interrupt and FIFO configuration register (CFG_REG/0x09)
 * 
 * @var dps368_cfg_reg_t::spi_mode
 * Member 'spi_mode' is the SPI mode selection.
 * @var dps368_cfg_reg_t::fifo_en
 * Member 'fifo_en' is the FIFO enable flag.
 * @var dps368_cfg_reg_t::prs_shift_en
 * Member 'prs_shift_en' enables the right shift of pressure measurement. Must 
 * be 1 when oversampling ratio is above 8.
 * @var dps368_cfg_reg_t::tmp_shift_en
 * Member 'tmp_shift_en' enables the right shift of temperature measurement. Must 
 * be 1 when oversampling ratio is above 8.
 * @var dps368_cfg_reg_t::prs_int_en
 * Member 'prs_int_en' enables the pressure measurement ready interrupt.
 * @var dps368_cfg_reg_t::tmp_int_en
 * Member 'tmp_int_en' enables the temperature measurement ready interrupt.
 * @var dps368_cfg_reg_t::fifo_int_en
 * Member 'fifo_int_en' enables the FIFO full interrupt.
 * @var dps368_cfg_reg_t::int_hl
 * Member 'int_hl' is the interrupt polarity selection.
 * @var dps368_cfg_reg_t::raw
 * Member 'raw' is the raw register value.
 */
typedef union {
    struct {
        uint8_t spi_mode        : 1; // [0:0] dps368_cfg_reg_spi_mode_t
        uint8_t fifo_en         : 1; // [1:1]
        uint8_t prs_shift_en    : 1; // [2:2]
        uint8_t tmp_shift_en    : 1; // [3:3]
        uint8_t prs_int_en      : 1; // [4:4]
        uint8_t tmp_int_en      : 1; // [5:5]
        uint8_t fifo_int_en     : 1; // [6:6]
        uint8_t int_hl          : 1; // [7:7] dps368_cfg_reg_int_hl_t
    } __attribute__((packed));
    uint8_t raw;
} dps368_cfg_reg_t;

/**
 * @typedef dps368_int_sts_t
 * @brief DPS368 interrupt status register (INT_STS/0x0A)
 * 
 * @var dps368_int_sts_t::int_prs
 * Member 'int_prs' is the pressure interrupt flag.
 * @var dps368_int_sts_t::int_tmp
 * Member 'int_tmp' is the temperature interrupt flag.
 * @var dps368_int_sts_t::int_fifo_full
 * Member 'int_fifo_full' is the FIFO full interrupt flag.
 * @var dps368_int_sts_t::raw
 * Member 'raw' is the raw register value.
 */
typedef union {
    struct {
        uint8_t  int_prs         : 1; // [0:0]
        uint8_t  int_tmp         : 1; // [1:1]
        uint8_t  int_fifo_full   : 1; // [2:2]
        uint8_t  reserved        : 5; // [7:3]
    } __attribute__((packed));
    uint8_t raw;
} dps368_int_sts_t;

/**
 * @typedef dps368_fifo_sts_t
 * @brief DPS368 FIFO status register (FIFO_STS/0x0B)
 * 
 * @var dps368_fifo_sts_t::fifo_empty
 * Member 'fifo_empty' is the FIFO empty flag.
 * @var dps368_fifo_sts_t::fifo_full
 * Member 'fifo_full' is the FIFO full flag.
 * @var dps368_fifo_sts_t::raw 
 * Member 'raw' is the raw register value.
 */
typedef union {
    struct {
        uint8_t fifo_empty      : 1; // [0:0]
        uint8_t fifo_full       : 1; // [1:1]
        uint8_t reserved        : 6; // [7:2]
    } __attribute__((packed));
    uint8_t raw;
} dps368_fifo_sts_t;

/**
 * @typedef dps368_reset_t
 * @brief DPS368 reset register (RESET/0x0C)
 * 
 * @var dps368_reset_t::soft_rst
 * Member 'soft_rst' is the soft reset configuration.
 * @var dps368_reset_t::fifo_flush
 * Member 'fifo_flush' clears the FIFO
 * @var dps368_reset_t::raw
 * Member 'raw' is the raw register value.
 */
typedef union {
    struct {
        uint8_t soft_rst        : 4; // [3:0] dps368_reset_soft_rst_t
        uint8_t reserved        : 3; // [6:4]
        uint8_t fifo_flush      : 1; // [7:7]
    } __attribute__((packed));
    uint8_t raw;
} dps368_reset_t;

/**
 * @typedef dps368_id_t
 * @brief DPS368 product and revision ID register (ID/0x0D)
 * 
 * @var dps368_id_t::prod_id
 * Member 'prod_id' is the product ID.
 * @var dps368_id_t::rev_id
 * Member 'rev_id' is the revision ID.
 * @var dps368_id_t::raw
 * Member 'raw' is the raw register value.
 */
typedef union {
    struct {
        uint8_t prod_id         : 4; // [3:0]
        uint8_t rev_id          : 4; // [7:4]
    } __attribute__((packed));
    uint8_t raw;
} dps368_id_t;

/**
 * @typedef dps368_coef_srce_t
 * @brief DPS368 coefficient source register (COEF_SRCE/0x28)
 * 
 * @var dps368_coef_srce_t::tmp_coef_srce
 * Member 'tmp_coef_srce' is the temperature coefficient source selection.
 * @var dps368_coef_srce_t::raw
 * Member 'raw' is the raw register value.
 */
typedef union {
    struct {
        uint8_t reserved        : 7; // [0:6]
        uint8_t tmp_coef_srce   : 1; // [7:7] dps368_coef_srce_tmp_coef_srce_t
    } __attribute__((packed));
    uint8_t raw;
} dps368_coef_srce_t;

//******************************************************************************
//* Function prototypes
//******************************************************************************
/**
 * @brief Initializes the DPS368 sensor
 * 
 * @param oversampling_ratio of pressure measurement
 * @retval 0 Success
 * @retval 1 Failure
 */
int dps368_init(dps368_x_cfg_x_prc_t oversampling_ratio);

/**
 * @brief Reads the status of the DPS368 sensor
 * 
 * @param status_ptr pointer to the variable where the status will be stored
 * @retval 0 Success
 * @retval 1 Failure
 */
int dps368_check_status(dps368_meas_cfg_t *status_ptr);

/**
 * @brief Starts a single temperature conversion
 * 
 * @retval 0 Success
 * @retval 1 Failure
 */
int dps368_start_tmp_conversion(void);

/**
 * @brief Starts a single pressure conversion
 * 
 * @retval 0 Success
 * @retval 1 Failure
 */
int dps368_start_prs_conversion(void);

/**
 * @brief Reads the temperature data from the DPS368 sensor
 * 
 * @param data_ptr pointer to the variable where the data will be stored
 * @retval 0 Success
 * @retval 1 Failure
 */
int dps368_read_tmp(dps368_data_t *data);

/**
 * @brief Reads the pressure data from the DPS368 sensor
 * 
 * @param data_ptr pointer to the variable where the data will be stored
 * @retval 0 Success
 * @retval 1 Failure
 */
int dps368_read_prs(dps368_data_t *data);

/**
 * @brief Post processes the raw data from the DPS368 sensor into compensated data
 * 
 * @param data_ptr pointer to the data to be post processed
 */
void dps368_post_process_data(dps368_data_t *data);

/**
 * @brief Samples pressure and temperature data from the DPS368 sensor a single time
 * 
 * @param coef_ptr pointer to the variable where the data will be stored
 * @retval 0 Success
 * @retval 1 Failure
 */
int dps368_sample_single(dps368_data_t *data);

#endif // _DPS368_H_
```

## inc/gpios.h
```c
#ifndef _GPIOS_H_
#define _GPIOS_H_

int gpio_init(void);
void REQ_Range(int Range_High);

#endif // _GPIOS_H_
```
